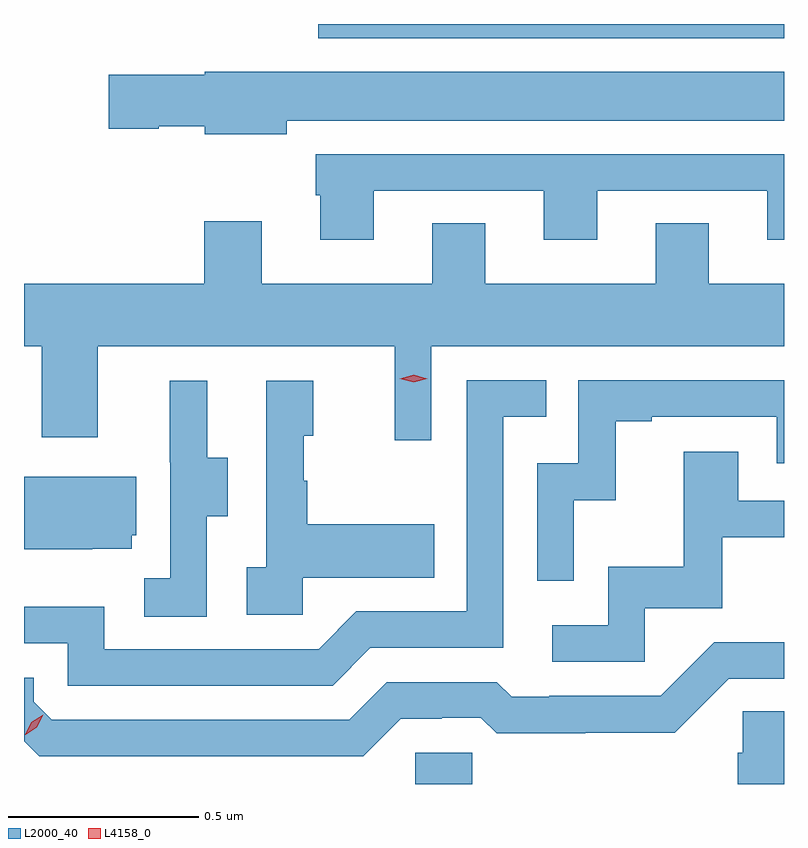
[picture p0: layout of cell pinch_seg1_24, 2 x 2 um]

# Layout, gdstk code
import gdstk
lib = gdstk.Library(unit=1e-6, precision=1e-09)
def R(c, l, rs):  # rectangles x0, y0, x1, y1
    for r in rs: c.add(gdstk.rectangle(r[:2], r[2:], *l))
def P(c, l, *ps):  # polygons
    for p in ps: c.add(gdstk.Polygon(p, *l))
L2000_40 = (2000, 40)
L4158_0 = (4158, 0)

pinch_seg1_24 = lib.new_cell('pinch_seg1_24')
R(pinch_seg1_24, L2000_40, [(1132.287,573.224,1132.437,573.306), (1132.031,575.186,1133.257,575.224)])
P(pinch_seg1_24, L2000_40, [(1131.949,574.97),(1133.257,574.97),(1133.257,575.098),(1131.732,575.098),(1131.732,575.09),(1131.48,575.09),(1131.48,574.948),(1131.612,574.948),(1131.612,574.955),(1131.732,574.955),(1131.732,574.934),(1131.949,574.934)],
  [(1132.177,574.785),(1132.625,574.785),(1132.625,574.656),(1132.765,574.656),(1132.765,574.785),(1133.213,574.785),(1133.213,574.656),(1133.257,574.656),(1133.257,574.881),(1132.025,574.881),(1132.025,574.773),(1132.037,574.773),(1132.037,574.656),(1132.177,574.656)],
  [(1132.329,574.376),(1133.257,574.376),(1133.257,574.54),(1133.059,574.54),(1133.059,574.7),(1132.919,574.7),(1132.919,574.54),(1132.471,574.54),(1132.471,574.7),(1132.331,574.7),(1132.331,574.54),(1131.883,574.54),(1131.883,574.705),(1131.731,574.705),(1131.731,574.54),(1131.257,574.54),(1131.257,574.376),(1131.304,574.376),(1131.304,574.137),(1131.451,574.137),(1131.451,574.376),(1132.232,574.376),(1132.232,574.128),(1132.329,574.128)],
  [(1132.168,573.582),(1132.518,573.582),(1132.518,574.191),(1132.631,574.191),(1132.631,574.287),(1132.422,574.287),(1132.422,573.678),(1132.131,573.678),(1132.032,573.579),(1131.468,573.579),(1131.468,573.691),(1131.257,573.691),(1131.257,573.594),(1131.372,573.594),(1131.372,573.483),(1132.069,573.483)],
  [(1132.704,573.971),(1132.814,573.971),(1132.814,574.179),(1132.909,574.179),(1132.909,574.191),(1133.238,574.191),(1133.238,574.068),(1133.257,574.068),(1133.257,574.287),(1132.716,574.287),(1132.716,574.068),(1132.608,574.068),(1132.608,573.759),(1132.704,573.759)],
  [(1131.99,573.767),(1132.337,573.767),(1132.337,573.907),(1132.003,573.907),(1132.003,574.022),(1131.993,574.022),(1131.993,574.14),(1132.018,574.14),(1132.018,574.285),(1131.894,574.285),(1131.894,573.794),(1131.843,573.794),(1131.843,573.669),(1131.99,573.669)],
  [(1131.738,573.928),(1131.793,573.928),(1131.793,574.083),(1131.739,574.083),(1131.739,574.285),(1131.641,574.285),(1131.641,574.071),(1131.642,574.071),(1131.642,573.765),(1131.573,573.765),(1131.573,573.664),(1131.738,573.664)],
  [(1132.89,573.687),(1133.095,573.687),(1133.095,573.873),(1133.257,573.873),(1133.257,573.969),(1133.137,573.969),(1133.137,574.099),(1132.993,574.099),(1132.993,573.796),(1132.794,573.796),(1132.794,573.642),(1132.647,573.642),(1132.647,573.546),(1132.89,573.546)],
  [(1131.437,573.843),(1131.541,573.843),(1131.541,573.879),(1131.553,573.879),(1131.553,574.033),(1131.257,574.033),(1131.257,573.842),(1131.437,573.842)],
  [(1132.249,573.396),(1132.356,573.396),(1132.356,573.399),(1132.459,573.399),(1132.501,573.357),(1132.734,573.357),(1132.734,573.359),(1132.97,573.359),(1133.112,573.501),(1133.257,573.501),(1133.257,573.597),(1133.073,573.597),(1132.932,573.456),(1132.639,573.456),(1132.639,573.453),(1132.54,573.453),(1132.501,573.492),(1132.212,573.492),(1132.113,573.393),(1131.33,573.393),(1131.282,573.441),(1131.282,573.504),(1131.257,573.504),(1131.257,573.337),(1131.297,573.297),(1132.15,573.297)],
  [(1133.257,573.416),(1133.149,573.416),(1133.149,573.306),(1133.135,573.306),(1133.135,573.224),(1133.257,573.224)])
P(pinch_seg1_24, L4158_0, [(1131.26,573.354),(1131.26,573.354),(1131.276,573.386),(1131.307,573.406),(1131.307,573.406),(1131.307,573.406),(1131.291,573.373),(1131.261,573.354)],
  [(1132.282,574.281),(1132.246,574.29),(1132.246,574.29),(1132.246,574.29),(1132.282,574.301),(1132.318,574.291),(1132.318,574.291),(1132.318,574.291)])

lib.write_gds('pinch_seg1_24.gds')
